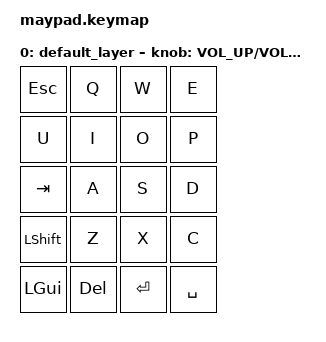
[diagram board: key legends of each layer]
#include <behaviors.dtsi>
#include <dt-bindings/zmk/keys.h>
#include <dt-bindings/zmk/bt.h>

/{
    keymap {
        compatible = "zmk,keymap";

        default_layer {
// --------------------------------------------------------------------------------------------------------------------------------------------------------------------
// |   ESC   |    Q    |    W    |    E    |    R    |    T    |                                          |    Y    |    U    |    I    |    O    |    P    |    \    |
// |   TAB   |    A    |    S    |    D    |    F    |    G    |                                          |    H    |    J    |    K    |    L    |    ;    |    '    |
// |  SHIFT  |    Z    |    X    |    C    |    V    |    B    | CTRL+A  | CTRL+C  |  |  CTRL+V |  CTRL+X |    N    |    M    |    ,    |    .    |    /    |  R CTRL |
//                               |   GUI   |   DEL   | RETURN  |  SPACE  | ESCAPE  |  |  RETURN |  SPACE  |   TAB   |   BSPC  |  R ALT  |
            bindings = <
    &kp ESC    &kp Q    &kp W    &kp E
    &kp U     &kp I     &kp O     &kp P
    &kp TAB    &kp A    &kp S    &kp D
    &kp LSHIFT &kp Z    &kp X    &kp C
    &kp LGUI  &kp DEL   &kp RET    &kp SPACE
            >;

            sensor-bindings = <&inc_dec_kp C_VOL_UP C_VOL_DN &inc_dec_kp PG_UP PG_DN>;
        };
    };
};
